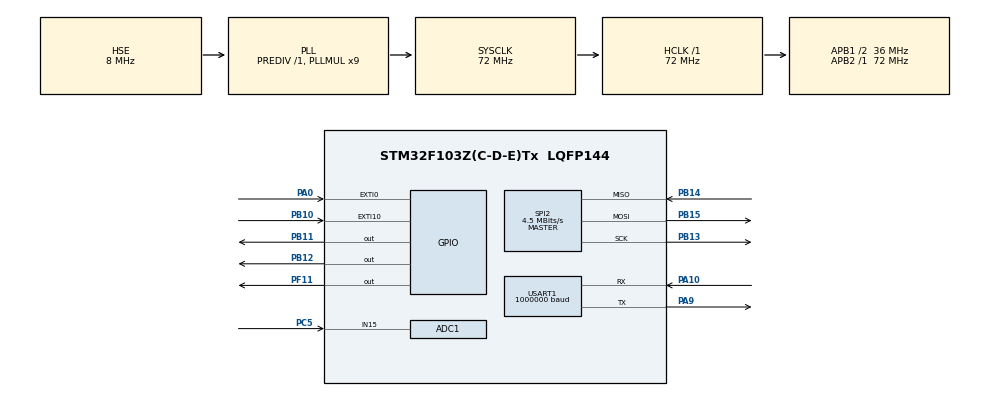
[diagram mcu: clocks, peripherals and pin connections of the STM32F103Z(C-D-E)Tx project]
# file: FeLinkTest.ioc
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ADC1.Channel-0\#ChannelRegularConversion=ADC_CHANNEL_15
ADC1.NbrOfConversionFlag=1
ADC1.Rank-0\#ChannelRegularConversion=1
ADC1.SamplingTime-0\#ChannelRegularConversion=ADC_SAMPLETIME_1CYCLE_5
ADC1.master=1
Mcu.Family=STM32F1
Mcu.Name=STM32F103Z(C-D-E)Tx
Mcu.Package=LQFP144
NVIC.EXTI0_IRQn=true\:0\:0\:false\:false\:true\:true\:true\:true
NVIC.EXTI15_10_IRQn=true\:0\:0\:false\:false\:true\:true\:true\:true
NVIC.PriorityGroup=NVIC_PRIORITYGROUP_4
OSC_IN.Mode=HSE-External-Oscillator
OSC_IN.Signal=RCC_OSC_IN
OSC_OUT.Mode=HSE-External-Oscillator
OSC_OUT.Signal=RCC_OSC_OUT
PA0-WKUP.GPIO_ModeDefaultEXTI=GPIO_MODE_IT_RISING
PA0-WKUP.GPIO_PuPd=GPIO_PULLDOWN
PA0-WKUP.Signal=GPXTI0
PA10.Mode=Asynchronous
PA10.Signal=USART1_RX
PA9.Mode=Asynchronous
PA9.Signal=USART1_TX
PB10.GPIO_ModeDefaultEXTI=GPIO_MODE_IT_FALLING
PB10.GPIO_PuPd=GPIO_PULLUP
PB10.Signal=GPXTI10
PB11.GPIO_Speed=GPIO_SPEED_FREQ_LOW
PB11.Signal=GPIO_Output
PB12.PinState=GPIO_PIN_SET
PB12.Signal=GPIO_Output
PB13.Mode=Full_Duplex_Master
PB13.Signal=SPI2_SCK
PB14.Mode=Full_Duplex_Master
PB14.Signal=SPI2_MISO
PB15.Mode=Full_Duplex_Master
PB15.Signal=SPI2_MOSI
PC5.Signal=ADCx_IN15
PF11.PinState=GPIO_PIN_SET
PF11.Signal=GPIO_Output
ProjectManager.HeapSize=0x200
ProjectManager.StackSize=0x400
ProjectManager.TargetToolchain=MDK-ARM V5.32
RCC.ADCPresc=RCC_ADCPCLK2_DIV6
RCC.AHBFreq_Value=72000000
RCC.APB1CLKDivider=RCC_HCLK_DIV2
RCC.APB1Freq_Value=36000000
RCC.APB1TimFreq_Value=72000000
RCC.APB2Freq_Value=72000000
RCC.APB2TimFreq_Value=72000000
RCC.HCLKFreq_Value=72000000
RCC.PLLMUL=RCC_PLL_MUL9
RCC.PLLSourceVirtual=RCC_PLLSOURCE_HSE
RCC.SYSCLKFreq_VALUE=72000000
RCC.SYSCLKSource=RCC_SYSCLKSOURCE_PLLCLK
RCC.USBFreq_Value=72000000
SH.ADCx_IN15.0=ADC1_IN15,IN15
SPI2.BaudRatePrescaler=SPI_BAUDRATEPRESCALER_8
SPI2.CalculateBaudRate=4.5 MBits/s
SPI2.Direction=SPI_DIRECTION_2LINES
SPI2.Mode=SPI_MODE_MASTER
SPI2.VirtualType=VM_MASTER
USART1.BaudRate=1000000
USART1.VirtualMode=VM_ASYNC
VP_SYS_VS_ND.Mode=No_Debug
board=custom

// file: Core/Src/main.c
/* USER CODE BEGIN Header */
/**
  ******************************************************************************
  * @file           : main.c
  * @brief          : Main program body
  ******************************************************************************
  * @attention
  *
  * Copyright (c) 2023 STMicroelectronics.
  * All rights reserved.
  *
  * This software is licensed under terms that can be found in the LICENSE file
  * in the root directory of this software component.
  * If no LICENSE file comes with this software, it is provided AS-IS.
  *
  ******************************************************************************
  */
/* USER CODE END Header */
#include "main.h"
#include "adc.h"
#include "spi.h"
#include "usart.h"
#include "gpio.h"

/* USER CODE BEGIN Includes */
#include "nrf24l01.h"
#include "felink.h"
/* USER CODE END Includes */

/* USER CODE BEGIN PM */
#define FELINK_PACKAGE_BUF_SIZE FELINK_RECOMMENDED_USER_RX_BUF_SIZE
/* USER CODE END PM */

/* USER CODE BEGIN PV */
struct fldev fldev0;
flu8 fl_package_buf[FELINK_PACKAGE_BUF_SIZE];
/* USER CODE END PV */

void SystemClock_Config(void);

/* USER CODE BEGIN 0 */
char my_strncmp(char* c1, char* c2, int count)
{
	while(count--)
		if(*c1++ != *c2++)
			return 1;
	return 0;
}
/* USER CODE END 0 */

int main(void)
{
  /* USER CODE BEGIN 1 */
  flu16 len;
  flresult flres;
  int res;
  /* USER CODE END 1 */

  /* MCU Configuration--------------------------------------------------------*/

  /* Reset of all peripherals, Initializes the Flash interface and the Systick. */
  HAL_Init();

  /* Configure the system clock */
  SystemClock_Config();

  /* Initialize all configured peripherals */
  MX_GPIO_Init();
  MX_ADC1_Init();
  MX_USART1_UART_Init();
  MX_SPI2_Init();
  /* USER CODE BEGIN 2 */

  res = nrf24l01_config();
  flres = fl_init(&fldev0);
  while (res || flres)
  {
    HAL_GPIO_TogglePin(GPIOF, GPIO_PIN_11);
    HAL_Delay(250);
  }
  HAL_GPIO_WritePin(GPIOF, GPIO_PIN_11, GPIO_PIN_RESET);
  /* USER CODE END 2 */

  /* Infinite loop */
  /* USER CODE BEGIN WHILE */
  while (1)
  {
    len = nrf24l01_rx_felink_package(fl_package_buf, sizeof(fl_package_buf));
    flres = fl_receive_handler(&fldev0, fl_package_buf, len);
    if (flres == RES_DATA_AVAILABLE)
    {
      if(my_strncmp((char*)fldev0.buf, "on", 2) == 0)
        HAL_GPIO_WritePin(GPIOF, GPIO_PIN_11, GPIO_PIN_RESET);
			else if(my_strncmp((char*)fldev0.buf, "off", 3) == 0)
        HAL_GPIO_WritePin(GPIOF, GPIO_PIN_11, GPIO_PIN_SET);
    }
    else if (flres == RES_CONNECTED)
    {
      nrf24l01_set_felink_data_addr(fldev0.salt);
    }
    else if (flres < 0)
		{
      HAL_GPIO_TogglePin(GPIOF, GPIO_PIN_11);
		}
    /* USER CODE END WHILE */

  }
}

void SystemClock_Config(void)
{
  RCC_OscInitTypeDef RCC_OscInitStruct = {0};
  RCC_ClkInitTypeDef RCC_ClkInitStruct = {0};
  RCC_PeriphCLKInitTypeDef PeriphClkInit = {0};

  /** Initializes the RCC Oscillators according to the specified parameters
  * in the RCC_OscInitTypeDef structure.
  */
  RCC_OscInitStruct.OscillatorType = RCC_OSCILLATORTYPE_HSE;
  RCC_OscInitStruct.HSEState = RCC_HSE_ON;
  RCC_OscInitStruct.HSEPredivValue = RCC_HSE_PREDIV_DIV1;
  RCC_OscInitStruct.HSIState = RCC_HSI_ON;
  RCC_OscInitStruct.PLL.PLLState = RCC_PLL_ON;
  RCC_OscInitStruct.PLL.PLLSource = RCC_PLLSOURCE_HSE;
  RCC_OscInitStruct.PLL.PLLMUL = RCC_PLL_MUL9;
  if (HAL_RCC_OscConfig(&RCC_OscInitStruct) != HAL_OK)
  {
    Error_Handler();
  }

  /** Initializes the CPU, AHB and APB buses clocks
  */
  RCC_ClkInitStruct.ClockType = RCC_CLOCKTYPE_HCLK|RCC_CLOCKTYPE_SYSCLK
                              |RCC_CLOCKTYPE_PCLK1|RCC_CLOCKTYPE_PCLK2;
  RCC_ClkInitStruct.SYSCLKSource = RCC_SYSCLKSOURCE_PLLCLK;
  RCC_ClkInitStruct.AHBCLKDivider = RCC_SYSCLK_DIV1;
  RCC_ClkInitStruct.APB1CLKDivider = RCC_HCLK_DIV2;
  RCC_ClkInitStruct.APB2CLKDivider = RCC_HCLK_DIV1;

  if (HAL_RCC_ClockConfig(&RCC_ClkInitStruct, FLASH_LATENCY_2) != HAL_OK)
  {
    Error_Handler();
  }
  PeriphClkInit.PeriphClockSelection = RCC_PERIPHCLK_ADC;
  PeriphClkInit.AdcClockSelection = RCC_ADCPCLK2_DIV6;
  if (HAL_RCCEx_PeriphCLKConfig(&PeriphClkInit) != HAL_OK)
  {
    Error_Handler();
  }
}

/* USER CODE BEGIN 4 */
void HAL_GPIO_EXTI_Callback(uint16_t GPIO_Pin)
{
  switch (GPIO_Pin)
  {
  case GPIO_PIN_0:
    fldev0.state = STATE_UNPAIRED;
    break;
  case GPIO_PIN_10:
		nrf24l01_irq_handler();
		break;
  default:
    break;
  }
}
/* USER CODE END 4 */

void Error_Handler(void)
{
  __disable_irq();
  while (1)
  {
  }
}
